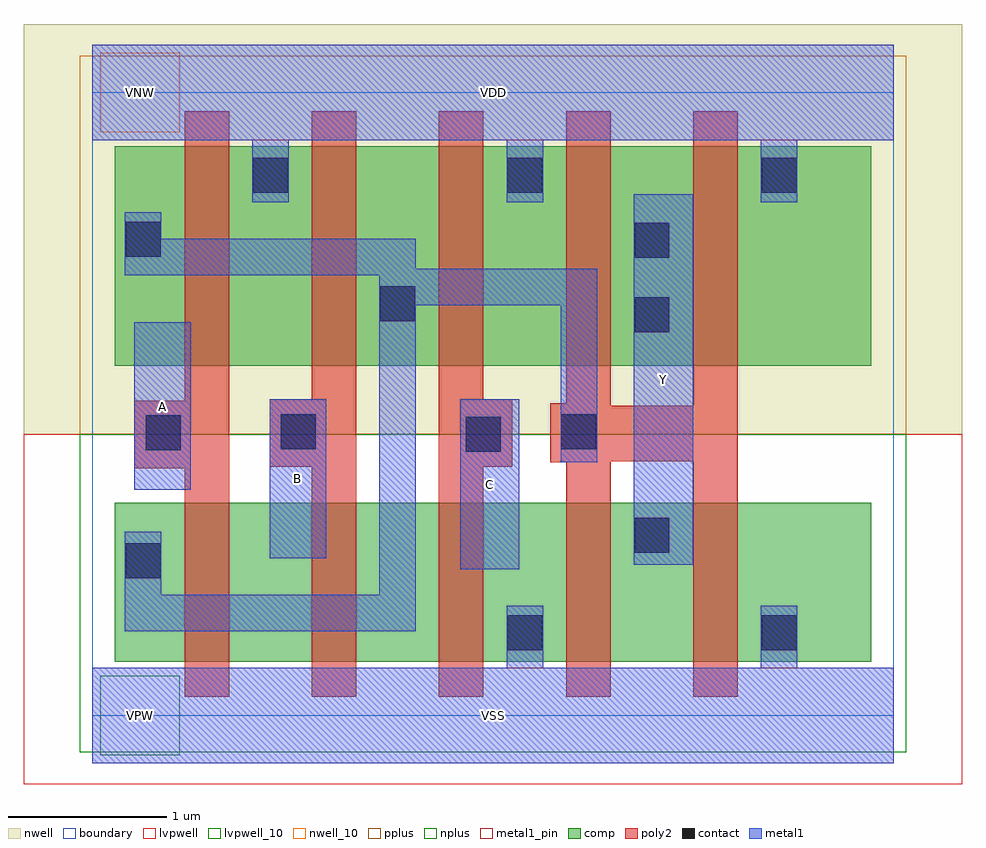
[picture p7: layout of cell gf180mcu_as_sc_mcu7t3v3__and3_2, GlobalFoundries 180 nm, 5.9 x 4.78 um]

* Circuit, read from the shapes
.subckt gf180mcu_as_sc_mcu7t3v3__and3_2 A B C VDD VNW VSS Y
XM1 n1 A n2 VSUBS nfet_03v3 w=1u l=0.28u
XM2 n3 B n1 VSUBS nfet_03v3 w=1u l=0.28u
XM3 VSS C n3 VSUBS nfet_03v3 w=1u l=0.28u
XM4 Y n2 VSS VSUBS nfet_03v3 w=1u l=0.28u m=2
XM5 VDD A n2 VNW pfet_03v3 w=1.38u l=0.28u
XM6 n2 B VDD VNW pfet_03v3 w=1.38u l=0.28u
XM7 VDD C n2 VNW pfet_03v3 w=1.38u l=0.28u
XM8 Y n2 VDD VNW pfet_03v3 w=1.38u l=0.28u m=2
.ends

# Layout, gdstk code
import gdstk
lib = gdstk.Library(unit=1e-6, precision=1e-09)
def R(c, l, rs):  # rectangles x0, y0, x1, y1
    for r in rs: c.add(gdstk.rectangle(r[:2], r[2:], *l))
def A(c, l, x, y, w, h, nx, ny, dx, dy):  # array of equal rectangles
    R(c, l, [(x+i*dx, y+j*dy, x+i*dx+w, y+j*dy+h) for i in range(nx) for j in range(ny)])
boundary = (0, 0)
nwell = (21, 0)
nwell_10 = (21, 10)
comp = (22, 0)
poly2 = (30, 0)
pplus = (31, 0)
nplus = (32, 0)
contact = (33, 0)
metal1 = (34, 0)
metal1_pin = (34, 10)
lvpwell = (204, 0)
lvpwell_10 = (204, 10)

gf180mcu_as_sc_mcu7t3v3_ = lib.new_cell('gf180mcu_as_sc_mcu7t3v3__and3_2')
R(gf180mcu_as_sc_mcu7t3v3_, boundary, [(0,0,5.04,3.92)])
R(gf180mcu_as_sc_mcu7t3v3_, nwell, [(-0.43,1.77,5.47,4.35)])
R(gf180mcu_as_sc_mcu7t3v3_, nwell_10, [(0.05,3.67,0.55,4.17)])
R(gf180mcu_as_sc_mcu7t3v3_, comp, [(0.14,0.34,4.9,1.34), (0.14,2.2,4.9,3.58)])
R(gf180mcu_as_sc_mcu7t3v3_, poly2, [(0.58,0.12,0.86,1.555), (1.38,0.12,1.66,1.565), (2.18,0.12,2.46,1.565), (2.98,0.12,3.26,1.595), (3.78,0.12,4.06,1.6), (0.265,1.555,0.86,1.98), (1.115,1.565,1.66,1.99), (2.18,1.565,2.64,1.99), (2.88,1.595,3.26,1.6), (2.88,1.6,4.06,1.95), (2.88,1.95,3.26,1.965), (3.78,1.95,4.06,3.8), (2.98,1.965,3.26,3.8), (0.58,1.98,0.86,3.8), (1.38,1.99,1.66,3.8), (2.18,1.99,2.46,3.8)])
R(gf180mcu_as_sc_mcu7t3v3_, pplus, [(-0.08,1.77,5.12,4.15)])
R(gf180mcu_as_sc_mcu7t3v3_, nplus, [(-0.08,-0.23,5.12,1.77)])
A(gf180mcu_as_sc_mcu7t3v3_, contact, 1.01, 3.29, 0.22, 0.22, 3, 1, 1.6, 0)
R(gf180mcu_as_sc_mcu7t3v3_, contact, [(2.61,0.41,2.83,0.63), (4.21,0.41,4.43,0.63), (0.21,0.865,0.43,1.085), (3.41,1.025,3.63,1.245), (2.35,1.66,2.57,1.88), (0.335,1.67,0.555,1.89), (1.185,1.675,1.405,1.895), (2.95,1.675,3.17,1.895), (3.41,2.41,3.63,2.63), (1.81,2.48,2.03,2.7), (3.41,2.88,3.63,3.1), (0.21,2.885,0.43,3.105)])
A(gf180mcu_as_sc_mcu7t3v3_, metal1, 1.005, 3.23, 0.23, 0.39, 3, 1, 1.6, 0)
R(gf180mcu_as_sc_mcu7t3v3_, metal1, [(0,-0.3,5.04,0.3), (2.605,0.3,2.835,0.69), (4.205,0.3,4.435,0.69), (0.205,0.53,2.035,0.76), (0.205,0.76,0.435,1.155), (1.805,0.76,2.035,2.58), (2.315,0.92,2.685,1.99), (3.405,0.95,3.78,3.28), (1.115,0.99,1.47,1.99), (0.265,1.42,0.62,2.475), (2.945,1.595,3.175,2.58), (1.805,2.58,3.175,2.77), (0.205,2.77,3.175,2.81), (0.205,2.81,2.035,3), (0.205,3,0.435,3.165), (0,3.62,5.04,4.22)])
R(gf180mcu_as_sc_mcu7t3v3_, metal1_pin, [(0,-0.3,5.04,0.3), (2.315,0.92,2.685,1.99), (3.405,0.95,3.78,3.28), (1.115,0.99,1.47,1.99), (0.265,1.42,0.62,2.475), (0,3.62,5.04,4.22)])
R(gf180mcu_as_sc_mcu7t3v3_, lvpwell, [(-0.43,-0.43,5.47,1.77)])
R(gf180mcu_as_sc_mcu7t3v3_, lvpwell_10, [(0.05,-0.25,0.55,0.25)])
gf180mcu_as_sc_mcu7t3v3_.add(gdstk.Label('VDD', (2.52,3.92), layer=34, texttype=10))
gf180mcu_as_sc_mcu7t3v3_.add(gdstk.Label('VSS', (2.52,0), layer=34, texttype=10))
gf180mcu_as_sc_mcu7t3v3_.add(gdstk.Label('Y', (3.592,2.115), layer=34, texttype=10))
gf180mcu_as_sc_mcu7t3v3_.add(gdstk.Label('C', (2.5,1.455), layer=34, texttype=10))
gf180mcu_as_sc_mcu7t3v3_.add(gdstk.Label('B', (1.292,1.49), layer=34, texttype=10))
gf180mcu_as_sc_mcu7t3v3_.add(gdstk.Label('A', (0.442,1.947), layer=34, texttype=10))
gf180mcu_as_sc_mcu7t3v3_.add(gdstk.Label('VNW', (0.3,3.92), layer=21, texttype=10))
gf180mcu_as_sc_mcu7t3v3_.add(gdstk.Label('VPW', (0.3,0), layer=204, texttype=10))

lib.write_gds('gf180mcu_as_sc_mcu7t3v3__and3_2.gds')
